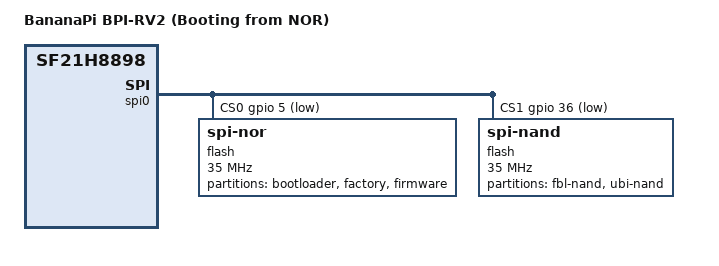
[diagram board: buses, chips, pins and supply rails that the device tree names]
/dts-v1/;
#include "sf21h8898-bpi-rv2.dtsi"

/ {
	model = "BananaPi BPI-RV2 (Booting from NOR)";
	compatible = "bananapi,bpi-rv2-nor", "siflower,sf21h8898";

	chosen {
		stdout-path = "serial1:115200n8";
		rootdisk = <&rootdisk>;
	};
};

&spi0 {
	status = "okay";
	num-cs = <2>;
	cs-gpios = <&gpio 5 GPIO_ACTIVE_LOW>, <&gpio 36 GPIO_ACTIVE_LOW>;

	flash@0 {
		compatible = "jedec,spi-nor";
		reg = <0>;
		spi-max-frequency = <35000000>;
		spi-tx-bus-width = <2>;
		spi-rx-bus-width = <2>;

		partitions {
			compatible = "fixed-partitions";
			#address-cells = <1>;
			#size-cells = <1>;

			partition@0 {
				label = "bootloader";
				reg = <0x0 0x90000>;
				read-only;
			};

			factory: partition@90000 {
				label = "factory";
				reg = <0x90000 0x10000>;
			};

			rootdisk: partition@a0000 {
				label = "firmware";
				reg = <0xa0000 0xf60000>;
				compatible = "denx,fit";
			};
		};
	};

	flash@1 {
		compatible = "spi-nand";
		reg = <1>;
		spi-max-frequency = <35000000>;
		spi-tx-bus-width = <2>;
		spi-rx-bus-width = <2>;
		#address-cells = <1>;
		#size-cells = <1>;

		partitions {
			compatible = "fixed-partitions";
			#address-cells = <1>;
			#size-cells = <1>;

			partition@0 {
				label = "fbl-nand";
				reg = <0x0 0x20000>;
			};

			partition@20000 {
				label = "ubi-nand";
				reg = <0x20000 0x0>;
			};
		};
	};
};

#include "sf21a6826-factory.dtsi"
